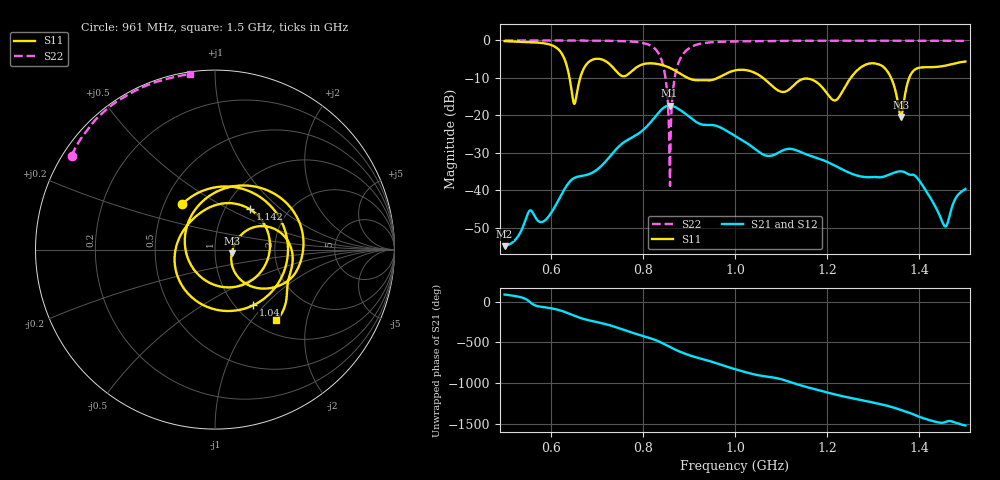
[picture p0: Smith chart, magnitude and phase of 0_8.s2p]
! TOUCHSTONE file generated by CST MICROWAVE STUDIO
! Date and time: Sat Oct 24 10:42:22 2020
! Project name: Scenario_1_Planar_Body_Tissue_Center.cst
! Parameters = {hfat=3; hmuscle=50; hskin=1.5; hgap=25; Wtissue=700; Ltissue=700; L_HA=400; MT=2.54; Rad_Dielectric=30; Rad_Lower=7.3; Rad_Upper=30; a_HA=580; a_WG=246; b_HA=500; b_WG=121; c_HA=0; c_WG=187; d_feed=85; dx1=294.24; h_feed=15; h_lower=18; h_upper=40}
! Header version: 2018
! Port assignment regex: !\s*Touchstone port\s*([0-9]+)\s*=\s*(CST MWS port|CST DS port)\s*([0-9]+|Zmin|Zmax)\s*\(\"(.*)\"\)(\s*mode\s*([0-9]+))?.*
! Touchstone port assignment:
! Touchstone port 1 = CST MWS port 1 ("")
! Touchstone port 2 = CST MWS port 2 ("")
# GHz S DB R 50
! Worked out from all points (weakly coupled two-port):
!   1003 points, 500 MHz to 1.5 GHz, reference 50 ohm
!   highest |S21| = -17.36 dB at 858 MHz (marker M1); lowest = -54.9 dB at 500 MHz (marker M2)
!   lowest |S11| = -20.4 dB at 1.36 GHz (marker M3), VSWR 1.21, Z = 60.2 - j2.49 ohm
!   |S11| at or under -10 dB: 897.6 MHz to 962.5 MHz (64.91 MHz wide, 6.98 % of centre); 1.061 GHz to 1.251 GHz (190.4 MHz wide, 16.5 % of centre); 1.339 GHz to 1.378 GHz (39.29 MHz wide, 2.89 % of centre) (the widest 3 of 4)
!   |S22| runs from -38.8 to 0.0 dB; largest |S21 - S12| = 6e-05
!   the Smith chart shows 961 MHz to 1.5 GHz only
!   S11 on the Smith chart (normalised r, x): 961 MHz: 0.62, +0.35; 1.04 GHz: 1.20, -0.87; 1.142 GHz: 1.30, +0.64; 1.5 GHz: 1.23, -1.34
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0.5  -0.19 -122.9  -54.87 85.0  -54.87 85.0  -0.01 151.1
0.626  -3.92 144.1  -40.52 -118.7  -40.52 -118.7  -0.02 142.1
0.651  -16.93 161.9  -36.70 -173.8  -36.70 -173.8  -0.03 139.9
0.667  -8.86 -163.7  -36.14 154.6  -36.14 154.6  -0.04 138.4
0.722  -5.75 97.4  -31.89 79.4  -31.89 79.4  -0.09 132.1
0.749  -9.04 7.1  -28.16 32.1  -28.16 32.1  -0.16 127.7
0.776  -8.18 -111.0  -25.91 -19.8  -25.91 -19.8  -0.31 121.5
0.834  -6.34 96.0  -19.29 -126.6  -19.29 -126.6  -3.42 85.3
0.858  -7.28 39.6  -17.36 166.7  -17.36 166.7  -33.15 40.2
0.884  -9.08 -24.1  -18.80 99.5  -18.80 99.5  -4.27 -176.5
0.961  -10.09 125.4  -22.83 -37.5  -22.83 -37.5  -0.40 146.7
1  -7.99 30.6  -25.47 -106.4  -25.47 -106.4  -0.27 140.2
1.04  -8.48 -55.4  -28.65 -167.9  -28.65 -167.9  -0.20 135.6
1.086  -12.70 -166.4  -30.45 149.6  -30.45 149.6  -0.13 131.0
1.142  -10.54 49.3  -29.74 57.0  -29.74 57.0  -0.10 126.3
1.167  -10.47 -8.9  -30.92 18.8  -30.92 18.8  -0.09 124.2
1.224  -15.39 170.7  -33.85 -63.9  -33.85 -63.9  -0.09 119.9
1.266  -7.90 62.1  -36.07 -114.5  -36.07 -114.5  -0.09 116.7
1.334  -8.87 -37.1  -35.82 161.7  -35.82 161.7  -0.08 111.6
1.36  -20.41 -12.4  -34.90 115.4  -34.90 115.4  -0.09 109.5
1.456  -6.73 -29.2  -49.62 -32.8  -49.58 -32.9  -0.11 101.9
1.5  -5.64 -49.1  -39.62 -73.2  -39.62 -73.2  -0.12 98.0
